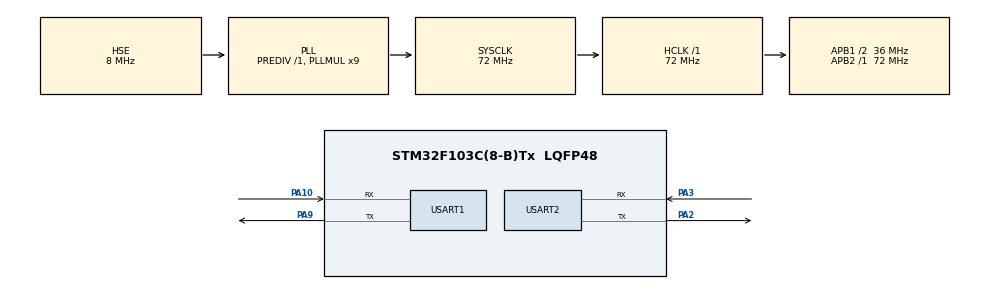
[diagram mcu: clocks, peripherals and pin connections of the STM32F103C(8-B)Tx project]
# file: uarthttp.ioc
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Mcu.Family=STM32F1
Mcu.Name=STM32F103C(8-B)Tx
Mcu.Package=LQFP48
NVIC.PriorityGroup=NVIC_PRIORITYGROUP_4
PA10.Mode=Asynchronous
PA10.Signal=USART1_RX
PA13.Mode=Serial_Wire
PA13.Signal=SYS_JTMS-SWDIO
PA14.Mode=Serial_Wire
PA14.Signal=SYS_JTCK-SWCLK
PA2.Mode=Asynchronous
PA2.Signal=USART2_TX
PA3.Mode=Asynchronous
PA3.Signal=USART2_RX
PA9.Mode=Asynchronous
PA9.Signal=USART1_TX
PD0-OSC_IN.Mode=HSE-External-Oscillator
PD0-OSC_IN.Signal=RCC_OSC_IN
PD1-OSC_OUT.Mode=HSE-External-Oscillator
PD1-OSC_OUT.Signal=RCC_OSC_OUT
ProjectManager.HeapSize=0x200
ProjectManager.StackSize=0x400
ProjectManager.TargetToolchain=MDK-ARM V5.32
RCC.AHBFreq_Value=72000000
RCC.APB1CLKDivider=RCC_HCLK_DIV2
RCC.APB1Freq_Value=36000000
RCC.APB1TimFreq_Value=72000000
RCC.APB2Freq_Value=72000000
RCC.APB2TimFreq_Value=72000000
RCC.HCLKFreq_Value=72000000
RCC.PLLMUL=RCC_PLL_MUL9
RCC.PLLSourceVirtual=RCC_PLLSOURCE_HSE
RCC.SYSCLKFreq_VALUE=72000000
RCC.SYSCLKSource=RCC_SYSCLKSOURCE_PLLCLK
RCC.USBFreq_Value=72000000
USART1.VirtualMode=VM_ASYNC
USART2.VirtualMode=VM_ASYNC
board=custom

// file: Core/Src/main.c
/* USER CODE BEGIN Header */
/**
  ******************************************************************************
  * @file           : main.c
  * @brief          : Main program body
  ******************************************************************************
  * @attention
  *
  * Copyright (c) 2026 STMicroelectronics.
  * All rights reserved.
  *
  * This software is licensed under terms that can be found in the LICENSE file
  * in the root directory of this software component.
  * If no LICENSE file comes with this software, it is provided AS-IS.
  *
  ******************************************************************************
  */
/* USER CODE END Header */
#include "main.h"

UART_HandleTypeDef huart1;
UART_HandleTypeDef huart2;

void SystemClock_Config(void);
static void MX_GPIO_Init(void);
static void MX_USART1_UART_Init(void);
static void MX_USART2_UART_Init(void);

int main(void)
{

  /* MCU Configuration--------------------------------------------------------*/

  /* Reset of all peripherals, Initializes the Flash interface and the Systick. */
  HAL_Init();

  /* Configure the system clock */
  SystemClock_Config();

  /* Initialize all configured peripherals */
  MX_GPIO_Init();
  MX_USART1_UART_Init();
  MX_USART2_UART_Init();

  /* Infinite loop */
  /* USER CODE BEGIN WHILE */
	uint8_t rx[512];
	uint16_t rxLen;

	uint8_t cmd2[] = "AT\r\n";
	HAL_UART_Transmit(&huart1,cmd2,sizeof(cmd2)-1,2000);

	HAL_UARTEx_ReceiveToIdle(&huart1,rx,sizeof(rx),&rxLen,5000);

	HAL_UART_Transmit(&huart2,rx,rxLen,2000);

	HAL_Delay(2000);

	uint8_t cmd3[] = "AT+CWMODE=1\r\n";
	HAL_UART_Transmit(&huart1,cmd3,sizeof(cmd3)-1,2000);

	HAL_UARTEx_ReceiveToIdle(&huart1,rx,sizeof(rx),&rxLen,5000);

	HAL_UART_Transmit(&huart2,rx,rxLen,2000);

	HAL_Delay(2000);

	uint8_t cmd4[] = "AT+CWDHCP=1,1\r\n";
	HAL_UART_Transmit(&huart1,cmd4,sizeof(cmd4)-1,2000);

	HAL_UARTEx_ReceiveToIdle(&huart1,rx,sizeof(rx),&rxLen,5000);

	HAL_UART_Transmit(&huart2,rx,rxLen,2000);

	HAL_Delay(10000);

	uint8_t cmd5[] = "AT+CWJAP=\"SNUC\",\"snu12345\"\r\n";
	HAL_UART_Transmit(&huart1,cmd5,sizeof(cmd5) -1,2000);

	HAL_UARTEx_ReceiveToIdle(&huart1,rx,sizeof(rx),&rxLen,5000);

	HAL_UART_Transmit(&huart2,rx,rxLen,2000);

	HAL_Delay(5000);

	uint8_t cmd6[] = "AT+CIFSR\r\n";
	HAL_UART_Transmit(&huart1,cmd6,sizeof(cmd6) -1,2000);

	HAL_UARTEx_ReceiveToIdle(&huart1,rx,sizeof(rx),&rxLen,5000);

	HAL_UART_Transmit(&huart2,rx,rxLen,2000);

	HAL_Delay(2000);
  while (1)
  {
    /* USER CODE END WHILE */

  }
}

void SystemClock_Config(void)
{
  RCC_OscInitTypeDef RCC_OscInitStruct = {0};
  RCC_ClkInitTypeDef RCC_ClkInitStruct = {0};

  /** Initializes the RCC Oscillators according to the specified parameters
  * in the RCC_OscInitTypeDef structure.
  */
  RCC_OscInitStruct.OscillatorType = RCC_OSCILLATORTYPE_HSE;
  RCC_OscInitStruct.HSEState = RCC_HSE_ON;
  RCC_OscInitStruct.HSEPredivValue = RCC_HSE_PREDIV_DIV1;
  RCC_OscInitStruct.HSIState = RCC_HSI_ON;
  RCC_OscInitStruct.PLL.PLLState = RCC_PLL_ON;
  RCC_OscInitStruct.PLL.PLLSource = RCC_PLLSOURCE_HSE;
  RCC_OscInitStruct.PLL.PLLMUL = RCC_PLL_MUL9;
  if (HAL_RCC_OscConfig(&RCC_OscInitStruct) != HAL_OK)
  {
    Error_Handler();
  }

  /** Initializes the CPU, AHB and APB buses clocks
  */
  RCC_ClkInitStruct.ClockType = RCC_CLOCKTYPE_HCLK|RCC_CLOCKTYPE_SYSCLK
                              |RCC_CLOCKTYPE_PCLK1|RCC_CLOCKTYPE_PCLK2;
  RCC_ClkInitStruct.SYSCLKSource = RCC_SYSCLKSOURCE_PLLCLK;
  RCC_ClkInitStruct.AHBCLKDivider = RCC_SYSCLK_DIV1;
  RCC_ClkInitStruct.APB1CLKDivider = RCC_HCLK_DIV2;
  RCC_ClkInitStruct.APB2CLKDivider = RCC_HCLK_DIV1;

  if (HAL_RCC_ClockConfig(&RCC_ClkInitStruct, FLASH_LATENCY_2) != HAL_OK)
  {
    Error_Handler();
  }
}

static void MX_USART1_UART_Init(void)
{

  huart1.Instance = USART1;
  huart1.Init.BaudRate = 115200;
  huart1.Init.WordLength = UART_WORDLENGTH_8B;
  huart1.Init.StopBits = UART_STOPBITS_1;
  huart1.Init.Parity = UART_PARITY_NONE;
  huart1.Init.Mode = UART_MODE_TX_RX;
  huart1.Init.HwFlowCtl = UART_HWCONTROL_NONE;
  huart1.Init.OverSampling = UART_OVERSAMPLING_16;
  if (HAL_UART_Init(&huart1) != HAL_OK)
  {
    Error_Handler();
  }

}

static void MX_USART2_UART_Init(void)
{

  huart2.Instance = USART2;
  huart2.Init.BaudRate = 115200;
  huart2.Init.WordLength = UART_WORDLENGTH_8B;
  huart2.Init.StopBits = UART_STOPBITS_1;
  huart2.Init.Parity = UART_PARITY_NONE;
  huart2.Init.Mode = UART_MODE_TX_RX;
  huart2.Init.HwFlowCtl = UART_HWCONTROL_NONE;
  huart2.Init.OverSampling = UART_OVERSAMPLING_16;
  if (HAL_UART_Init(&huart2) != HAL_OK)
  {
    Error_Handler();
  }

}

static void MX_GPIO_Init(void)
{

  /* GPIO Ports Clock Enable */
  __HAL_RCC_GPIOD_CLK_ENABLE();
  __HAL_RCC_GPIOA_CLK_ENABLE();

}

void Error_Handler(void)
{
  __disable_irq();
  while (1)
  {
  }
}
